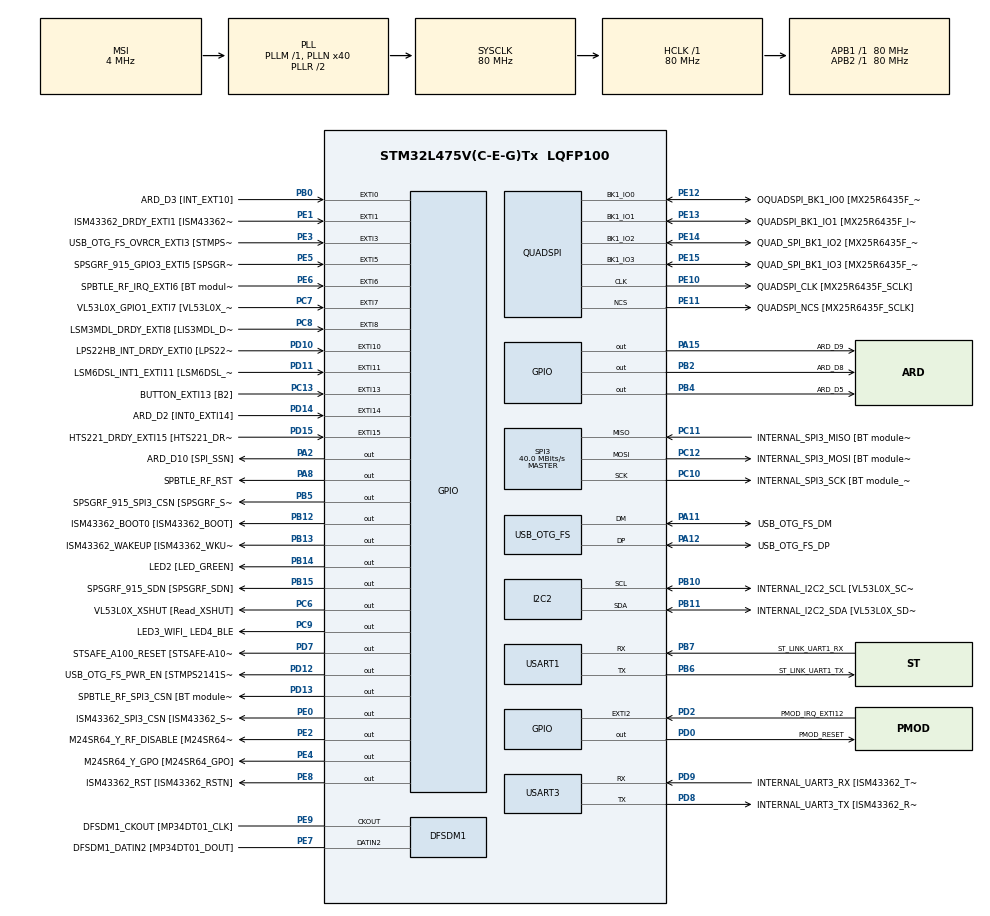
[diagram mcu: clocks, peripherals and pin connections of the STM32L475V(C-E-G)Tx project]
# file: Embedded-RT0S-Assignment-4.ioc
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FREERTOS.Tasks01=defaultTask,0,128,StartDefaultTask,Default,NULL,Dynamic,NULL,NULL;myTask02,-2,128,StartTask02,Default,NULL,Dynamic,NULL,NULL
FREERTOS.Timers01=myTimer01,prvMyTimerOneShot,osTimerOnce,Default,NULL,Dynamic,NULL;myTimer02,prvMyTimerAutoReload,osTimerPeriodic,Default,NULL,Dynamic,NULL
FREERTOS.configUSE_NEWLIB_REENTRANT=1
FREERTOS.configUSE_TIMERS=1
Mcu.Family=STM32L4
Mcu.Name=STM32L475V(C-E-G)Tx
Mcu.Package=LQFP100
NVIC.EXTI15_10_IRQn=true\:5\:0\:false\:false\:true\:true\:true\:true\:true
NVIC.EXTI9_5_IRQn=true\:5\:0\:false\:false\:true\:true\:true\:true\:true
NVIC.PriorityGroup=NVIC_PRIORITYGROUP_4
NVIC.TIM1_UP_TIM16_IRQn=true\:15\:0\:false\:false\:true\:false\:false\:true\:true
NVIC.TimeBase=TIM1_UP_TIM16_IRQn
NVIC.TimeBaseIP=TIM1
PA0.GPIO_Label=ARD_D1 [UART4_TX]
PA0.Signal=UART4_TX
PA1.GPIO_Label=ARD_D0 [UART4_RX]
PA1.Signal=UART4_RX
PA10.GPIO_Label=USB_OTG_FS_ID
PA10.Signal=USB_OTG_FS_ID
PA11.GPIO_Label=USB_OTG_FS_DM
PA11.Mode=Device_Only
PA11.Signal=USB_OTG_FS_DM
PA12.GPIO_Label=USB_OTG_FS_DP
PA12.Mode=Device_Only
PA12.Signal=USB_OTG_FS_DP
PA13\ (JTMS-SWDIO).GPIO_Label=SYS_JTMS_SWDIO
PA13\ (JTMS-SWDIO).Mode=Serial_Wire
PA13\ (JTMS-SWDIO).Signal=SYS_JTMS-SWDIO
PA14\ (JTCK-SWCLK).GPIO_Label=SYS_JTCK_SWCLK
PA14\ (JTCK-SWCLK).Mode=Serial_Wire
PA14\ (JTCK-SWCLK).Signal=SYS_JTCK-SWCLK
PA15\ (JTDI).GPIO_Label=ARD_D9
PA15\ (JTDI).Signal=GPIO_Output
PA2.GPIO_Label=ARD_D10 [SPI_SSN]
PA2.Signal=GPIO_Output
PA3.GPIO_Label=ARD_D4
PA3.Signal=S_TIM2_CH4
PA4.GPIO_Label=ARD_D7
PA4.Signal=ADCx_IN9
PA5.GPIO_Label=ARD_D13 [SPI1_SCK]
PA5.Signal=SPI1_SCK
PA6.GPIO_Label=ARD_D12 [SPI1_MISO]
PA6.Signal=SPI1_MISO
PA7.GPIO_Label=ARD_D11 [SPI1_MOSI]
PA7.Signal=SPI1_MOSI
PA8.GPIO_Label=SPBTLE_RF_RST
PA8.Signal=GPIO_Output
PA9.GPIO_Label=USB_OTG_FS_VBUS [STMPS2141STR_OUT]
PA9.Signal=USB_OTG_FS_VBUS
PB0.GPIO_Label=ARD_D3 [INT_EXT10]
PB0.Signal=GPXTI0
PB1.GPIO_Label=ARD_D6 [ADC1_IN6]
PB1.Signal=ADCx_IN16
PB10.GPIO_Label=INTERNAL_I2C2_SCL [VL53L0X_SCL]
PB10.GPIO_Pu=GPIO_PULLUP
PB10.Mode=I2C
PB10.Signal=I2C2_SCL
PB11.GPIO_Label=INTERNAL_I2C2_SDA [VL53L0X_SDA]
PB11.GPIO_Pu=GPIO_PULLUP
PB11.Mode=I2C
PB11.Signal=I2C2_SDA
PB12.GPIO_Label=ISM43362_BOOT0 [ISM43362_BOOT]
PB12.Signal=GPIO_Output
PB13.GPIO_Label=ISM43362_WAKEUP [ISM43362_WKUP]
PB13.Signal=GPIO_Output
PB14.GPIO_Label=LED2 [LED_GREEN]
PB14.Signal=GPIO_Output
PB15.GPIO_Label=SPSGRF_915_SDN [SPSGRF_SDN]
PB15.Signal=GPIO_Output
PB2.GPIO_Label=ARD_D8
PB2.Signal=GPIO_Output
PB3\ (JTDO-TRACESWO).GPIO_Label=SYS_JTD0_SWO
PB3\ (JTDO-TRACESWO).Signal=SYS_JTDO-SWO
PB4\ (NJTRST).GPIO_Label=ARD_D5
PB4\ (NJTRST).Signal=GPIO_Output
PB5.GPIO_Label=SPSGRF_915_SPI3_CSN [SPSGRF_SPI_CS]
PB5.PinState=GPIO_PIN_SET
PB5.Signal=GPIO_Output
PB6.GPIO_Label=ST_LINK_UART1_TX
PB6.Mode=Asynchronous
PB6.Signal=USART1_TX
PB7.GPIO_Label=ST_LINK_UART1_RX
PB7.Mode=Asynchronous
PB7.Signal=USART1_RX
PB8.GPIO_Label=ARD_D15 [I2C1_SCL]
PB8.Signal=I2C1_SCL
PB9.GPIO_Label=ARD_D14 [I2C1_SDA]
PB9.Signal=I2C1_SDA
PC0.GPIO_Label=ARD_A5 [ADC]
PC0.Signal=ADCx_IN1
PC1.GPIO_Label=ARD_A4 [ADC]
PC1.Signal=ADCx_IN2
PC10.GPIO_Label=INTERNAL_SPI3_SCK [BT module_SPI_SCLK] [ISM43362_SCK]
PC10.Mode=Full_Duplex_Master
PC10.Signal=SPI3_SCK
PC11.GPIO_Label=INTERNAL_SPI3_MISO [BT module_SPI_MISO] [ISM43362_MISO]
PC11.Mode=Full_Duplex_Master
PC11.Signal=SPI3_MISO
PC12.GPIO_Label=INTERNAL_SPI3_MOSI [BT module_SPI_MOSI] [ISM43362_MOSI]
PC12.Mode=Full_Duplex_Master
PC12.Signal=SPI3_MOSI
PC13.GPIO_Label=BUTTON_EXTI13 [B2]
PC13.GPIO_ModeDefaultEXTI=GPIO_MODE_IT_FALLING
PC13.Signal=GPXTI13
PC14-OSC32_IN\ (PC14).Mode=LSE-External-Oscillator
PC14-OSC32_IN\ (PC14).Signal=RCC_OSC32_IN
PC15-OSC32_OUT\ (PC15).Mode=LSE-External-Oscillator
PC15-OSC32_OUT\ (PC15).Signal=RCC_OSC32_OUT
PC2.GPIO_Label=ARD_A3 [ADC]
PC2.Signal=ADCx_IN3
PC3.GPIO_Label=ARD_A2 [ADC]
PC3.Signal=ADCx_IN4
PC4.GPIO_Label=ARD_A1 [ADC]
PC4.Signal=ADCx_IN13
PC5.GPIO_Label=ARD_A0 [ADC]
PC5.Signal=ADCx_IN14
PC6.GPIO_Label=VL53L0X_XSHUT [Read_XSHUT]
PC6.Signal=GPIO_Output
PC7.GPIO_Label=VL53L0X_GPIO1_EXTI7 [VL53L0X_GPIO1]
PC7.Signal=GPXTI7
PC8.GPIO_Label=LSM3MDL_DRDY_EXTI8 [LIS3MDL_DRDY]
PC8.Signal=GPXTI8
PC9.GPIO_Label=LED3_WIFI_ LED4_BLE
PC9.Signal=GPIO_Output
PD0.GPIO_Label=PMOD_RESET
PD0.Signal=GPIO_Output
PD1.GPIO_Label=PMOD_SPI2_SCK
PD1.Signal=SPI2_SCK
PD10.GPIO_Label=LPS22HB_INT_DRDY_EXTI0 [LPS22HB_INT_DRDY] 
PD10.Signal=GPXTI10
PD11.GPIO_Label=LSM6DSL_INT1_EXTI11 [LSM6DSL_INT1]
PD11.Signal=GPXTI11
PD12.GPIO_Label=USB_OTG_FS_PWR_EN [STMPS2141STR_EN]
PD12.Signal=GPIO_Output
PD13.GPIO_Label=SPBTLE_RF_SPI3_CSN [BT module_SPI_CS]
PD13.PinState=GPIO_PIN_SET
PD13.Signal=GPIO_Output
PD14.GPIO_Label=ARD_D2 [INT0_EXTI14]
PD14.Signal=GPXTI14
PD15.GPIO_Label=HTS221_DRDY_EXTI15 [HTS221_DRDY]
PD15.Signal=GPXTI15
PD2.GPIO_Label=PMOD_IRQ_EXTI12
PD2.Signal=GPXTI2
PD3.GPIO_Label=PMOD_UART2_CTS
PD3.Signal=USART2_CTS
PD4.GPIO_Label=PMOD_UART2_RTS
PD4.Signal=USART2_RTS
PD5.GPIO_Label=PMOD_UART2_TX
PD5.Signal=USART2_TX
PD6.GPIO_Label=PMOD_UART2_RX
PD6.Signal=USART2_RX
PD7.GPIO_Label=STSAFE_A100_RESET [STSAFE-A100_RESET]
PD7.Signal=GPIO_Output
PD8.GPIO_Label=INTERNAL_UART3_TX [ISM43362_RX]
PD8.Mode=Asynchronous
PD8.Signal=USART3_TX
PD9.GPIO_Label=INTERNAL_UART3_RX [ISM43362_TX]
PD9.Mode=Asynchronous
PD9.Signal=USART3_RX
PE0.GPIO_Label=ISM43362_SPI3_CSN [ISM43362_SSN]
PE0.PinState=GPIO_PIN_SET
PE0.Signal=GPIO_Output
PE1.GPIO_Label=ISM43362_DRDY_EXTI1 [ISM43362_DATARDY]
PE1.Signal=GPXTI1
PE10.GPIO_Label=QUADSPI_CLK [MX25R6435F_SCLK]
PE10.Mode=Single Bank
PE10.Signal=QUADSPI_CLK
PE11.GPIO_Label=QUADSPI_NCS [MX25R6435F_SCLK]
PE11.Mode=Single Bank
PE11.Signal=QUADSPI_NCS
PE12.GPIO_Label=OQUADSPI_BK1_IO0 [MX25R6435F_IO0]
PE12.Mode=Single Bank
PE12.Signal=QUADSPI_BK1_IO0
PE13.GPIO_Label=QUADSPI_BK1_IO1 [MX25R6435F_IO1]
PE13.Mode=Single Bank
PE13.Signal=QUADSPI_BK1_IO1
PE14.GPIO_Label=QUAD_SPI_BK1_IO2 [MX25R6435F_IO2]
PE14.Mode=Single Bank
PE14.Signal=QUADSPI_BK1_IO2
PE15.GPIO_Label=QUAD_SPI_BK1_IO3 [MX25R6435F_IO3]
PE15.Mode=Single Bank
PE15.Signal=QUADSPI_BK1_IO3
PE2.GPIO_Label=M24SR64_Y_RF_DISABLE [M24SR64_RFDIS]
PE2.Signal=GPIO_Output
PE3.GPIO_Label=USB_OTG_FS_OVRCR_EXTI3 [STMPS2141STR_FAULT]
PE3.Signal=GPXTI3
PE4.GPIO_Label=M24SR64_Y_GPO [M24SR64_GPO]
PE4.Signal=GPIO_Output
PE5.GPIO_Label=SPSGRF_915_GPIO3_EXTI5 [SPSGRF_GPIO_3]
PE5.Signal=GPXTI5
PE6.GPIO_Label=SPBTLE_RF_IRQ_EXTI6 [BT module_SPI_IRQ]
PE6.Signal=GPXTI6
PE7.GPIO_Label=DFSDM1_DATIN2 [MP34DT01_DOUT]
PE7.Signal=S_DATAIN2DFSDM1
PE8.GPIO_Label=ISM43362_RST [ISM43362_RSTN]
PE8.Signal=GPIO_Output
PE9.GPIO_Label=DFSDM1_CKOUT [MP34DT01_CLK]
PE9.Signal=S_CKOUTDFSDM1
ProjectManager.HeapSize=0x200
ProjectManager.StackSize=0x400
ProjectManager.TargetToolchain=STM32CubeIDE
QUADSPI.ClockPrescaler=2
QUADSPI.FifoThreshold=4
QUADSPI.FlashSize=23
QUADSPI.SampleShifting=QSPI_SAMPLE_SHIFTING_HALFCYCLE
RCC.ADCFreq_Value=48000000
RCC.AHBFreq_Value=80000000
RCC.APB1Freq_Value=80000000
RCC.APB1TimFreq_Value=80000000
RCC.APB2Freq_Value=80000000
RCC.APB2TimFreq_Value=80000000
RCC.CortexFreq_Value=80000000
RCC.HCLKFreq_Value=80000000
RCC.HSE_VALUE=8000000
RCC.HSI_VALUE=16000000
RCC.MSI_VALUE=4000000
RCC.PLLN=40
RCC.PLLSAI1N=24
RCC.SYSCLKFreq_VALUE=80000000
RCC.SYSCLKSource=RCC_SYSCLKSOURCE_PLLCLK
RCC.USBFreq_Value=48000000
RCC.VCOOutputFreq_Value=160000000
SH.ADCx_IN1.0=ADC1_IN1
SH.ADCx_IN13.0=ADC1_IN13
SH.ADCx_IN14.0=ADC1_IN14
SH.ADCx_IN16.0=ADC1_IN16
SH.ADCx_IN2.0=ADC1_IN2
SH.ADCx_IN3.0=ADC1_IN3
SH.ADCx_IN4.0=ADC1_IN4
SH.ADCx_IN9.0=ADC1_IN9
SH.S_CKOUTDFSDM1.0=DFSDM1_CKOUT,CKOUT
SH.S_CKOUTDFSDM1.1=DFSDM1_CKOUT,PDM_SPI_Input_from_ch12_and_Internal_Clock
SH.S_DATAIN2DFSDM1.0=DFSDM1_DATIN2,PDM_SPI_Input_from_ch12_and_Internal_Clock
SH.S_TIM2_CH4.0=TIM2_CH4
SPI3.CalculateBaudRate=40.0 MBits/s
SPI3.Direction=SPI_DIRECTION_2LINES
SPI3.Mode=SPI_MODE_MASTER
SPI3.VirtualType=VM_MASTER
USART1.VirtualMode-Asynchronous=VM_ASYNC
USART3.VirtualMode-Asynchronous=VM_ASYNC
USB_OTG_FS.VirtualMode=Device_Only
VP_FREERTOS_VS_CMSIS_V1.Mode=CMSIS_V1
VP_SYS_VS_tim1.Mode=TIM1
board=B-L475E-IOT01A2

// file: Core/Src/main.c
/* USER CODE BEGIN Header */
/**
  ******************************************************************************
  * @file           : main.c
  * @brief          : Main program body
  ******************************************************************************
  * @attention
  *
  * Copyright (c) 2023 STMicroelectronics.
  * All rights reserved.
  *
  * This software is licensed under terms that can be found in the LICENSE file
  * in the root directory of this software component.
  * If no LICENSE file comes with this software, it is provided AS-IS.
  *
  ******************************************************************************
  */
/* USER CODE END Header */
#include "main.h"
#include "cmsis_os.h"

/* USER CODE BEGIN Includes */
#include <stdio.h>
#include <string.h>
/* USER CODE END Includes */

DFSDM_Channel_HandleTypeDef hdfsdm1_channel1;

I2C_HandleTypeDef hi2c2;

QSPI_HandleTypeDef hqspi;

SPI_HandleTypeDef hspi3;

UART_HandleTypeDef huart1;
UART_HandleTypeDef huart3;

PCD_HandleTypeDef hpcd_USB_OTG_FS;

osThreadId defaultTaskHandle;
osThreadId myTask02Handle;
osTimerId myTimer01Handle;
osTimerId myTimer02Handle;

void SystemClock_Config(void);
static void MX_GPIO_Init(void);
static void MX_DFSDM1_Init(void);
static void MX_I2C2_Init(void);
static void MX_QUADSPI_Init(void);
static void MX_SPI3_Init(void);
static void MX_USART1_UART_Init(void);
static void MX_USART3_UART_Init(void);
static void MX_USB_OTG_FS_PCD_Init(void);
void StartDefaultTask(void const * argument);
void StartTask02(void const * argument);
void prvMyTimerOneShot(void const * argument);
void prvMyTimerAutoReload(void const * argument);

int main(void)
{

  /* MCU Configuration--------------------------------------------------------*/

  /* Reset of all peripherals, Initializes the Flash interface and the Systick. */
  HAL_Init();

  /* Configure the system clock */
  SystemClock_Config();

  /* Initialize all configured peripherals */
  MX_GPIO_Init();
  MX_DFSDM1_Init();
  MX_I2C2_Init();
  MX_QUADSPI_Init();
  MX_SPI3_Init();
  MX_USART1_UART_Init();
  MX_USART3_UART_Init();
  MX_USB_OTG_FS_PCD_Init();

  /* Create the timer(s) */
  /* definition and creation of myTimer01 */
  osTimerDef(myTimer01, prvMyTimerOneShot);
  myTimer01Handle = osTimerCreate(osTimer(myTimer01), osTimerOnce, NULL);

  /* definition and creation of myTimer02 */
  osTimerDef(myTimer02, prvMyTimerAutoReload);
  myTimer02Handle = osTimerCreate(osTimer(myTimer02), osTimerPeriodic, NULL);

  /* USER CODE BEGIN RTOS_TIMERS */
  /* start timers, add new ones, ... */
  osTimerStart(myTimer01Handle, 15000);
  osTimerStart(myTimer02Handle, 5000);
  /* USER CODE END RTOS_TIMERS */

  /* Create the thread(s) */
  /* definition and creation of defaultTask */
  osThreadDef(defaultTask, StartDefaultTask, osPriorityNormal, 0, 128);
  defaultTaskHandle = osThreadCreate(osThread(defaultTask), NULL);

  /* definition and creation of myTask02 */
  osThreadDef(myTask02, StartTask02, osPriorityLow, 0, 128);
  myTask02Handle = osThreadCreate(osThread(myTask02), NULL);

  /* Start scheduler */
  osKernelStart();
  /* We should never get here as control is now taken by the scheduler */
  /* Infinite loop */
  while (1)
  {

  }
}

void SystemClock_Config(void)
{
  RCC_OscInitTypeDef RCC_OscInitStruct = {0};
  RCC_ClkInitTypeDef RCC_ClkInitStruct = {0};

  /** Configure the main internal regulator output voltage
  */
  if (HAL_PWREx_ControlVoltageScaling(PWR_REGULATOR_VOLTAGE_SCALE1) != HAL_OK)
  {
    Error_Handler();
  }

  /** Configure LSE Drive Capability
  */
  HAL_PWR_EnableBkUpAccess();
  __HAL_RCC_LSEDRIVE_CONFIG(RCC_LSEDRIVE_LOW);

  /** Initializes the RCC Oscillators according to the specified parameters
  * in the RCC_OscInitTypeDef structure.
  */
  RCC_OscInitStruct.OscillatorType = RCC_OSCILLATORTYPE_LSE|RCC_OSCILLATORTYPE_MSI;
  RCC_OscInitStruct.LSEState = RCC_LSE_ON;
  RCC_OscInitStruct.MSIState = RCC_MSI_ON;
  RCC_OscInitStruct.MSICalibrationValue = 0;
  RCC_OscInitStruct.MSIClockRange = RCC_MSIRANGE_6;
  RCC_OscInitStruct.PLL.PLLState = RCC_PLL_ON;
  RCC_OscInitStruct.PLL.PLLSource = RCC_PLLSOURCE_MSI;
  RCC_OscInitStruct.PLL.PLLM = 1;
  RCC_OscInitStruct.PLL.PLLN = 40;
  RCC_OscInitStruct.PLL.PLLP = RCC_PLLP_DIV7;
  RCC_OscInitStruct.PLL.PLLQ = RCC_PLLQ_DIV2;
  RCC_OscInitStruct.PLL.PLLR = RCC_PLLR_DIV2;
  if (HAL_RCC_OscConfig(&RCC_OscInitStruct) != HAL_OK)
  {
    Error_Handler();
  }

  /** Initializes the CPU, AHB and APB buses clocks
  */
  RCC_ClkInitStruct.ClockType = RCC_CLOCKTYPE_HCLK|RCC_CLOCKTYPE_SYSCLK
                              |RCC_CLOCKTYPE_PCLK1|RCC_CLOCKTYPE_PCLK2;
  RCC_ClkInitStruct.SYSCLKSource = RCC_SYSCLKSOURCE_PLLCLK;
  RCC_ClkInitStruct.AHBCLKDivider = RCC_SYSCLK_DIV1;
  RCC_ClkInitStruct.APB1CLKDivider = RCC_HCLK_DIV1;
  RCC_ClkInitStruct.APB2CLKDivider = RCC_HCLK_DIV1;

  if (HAL_RCC_ClockConfig(&RCC_ClkInitStruct, FLASH_LATENCY_4) != HAL_OK)
  {
    Error_Handler();
  }

  /** Enable MSI Auto calibration
  */
  HAL_RCCEx_EnableMSIPLLMode();
}

static void MX_DFSDM1_Init(void)
{

  hdfsdm1_channel1.Instance = DFSDM1_Channel1;
  hdfsdm1_channel1.Init.OutputClock.Activation = ENABLE;
  hdfsdm1_channel1.Init.OutputClock.Selection = DFSDM_CHANNEL_OUTPUT_CLOCK_SYSTEM;
  hdfsdm1_channel1.Init.OutputClock.Divider = 2;
  hdfsdm1_channel1.Init.Input.Multiplexer = DFSDM_CHANNEL_EXTERNAL_INPUTS;
  hdfsdm1_channel1.Init.Input.DataPacking = DFSDM_CHANNEL_STANDARD_MODE;
  hdfsdm1_channel1.Init.Input.Pins = DFSDM_CHANNEL_FOLLOWING_CHANNEL_PINS;
  hdfsdm1_channel1.Init.SerialInterface.Type = DFSDM_CHANNEL_SPI_RISING;
  hdfsdm1_channel1.Init.SerialInterface.SpiClock = DFSDM_CHANNEL_SPI_CLOCK_INTERNAL;
  hdfsdm1_channel1.Init.Awd.FilterOrder = DFSDM_CHANNEL_FASTSINC_ORDER;
  hdfsdm1_channel1.Init.Awd.Oversampling = 1;
  hdfsdm1_channel1.Init.Offset = 0;
  hdfsdm1_channel1.Init.RightBitShift = 0x00;
  if (HAL_DFSDM_ChannelInit(&hdfsdm1_channel1) != HAL_OK)
  {
    Error_Handler();
  }

}

static void MX_I2C2_Init(void)
{

  hi2c2.Instance = I2C2;
  hi2c2.Init.Timing = 0x00000E14;
  hi2c2.Init.OwnAddress1 = 0;
  hi2c2.Init.AddressingMode = I2C_ADDRESSINGMODE_7BIT;
  hi2c2.Init.DualAddressMode = I2C_DUALADDRESS_DISABLE;
  hi2c2.Init.OwnAddress2 = 0;
  hi2c2.Init.OwnAddress2Masks = I2C_OA2_NOMASK;
  hi2c2.Init.GeneralCallMode = I2C_GENERALCALL_DISABLE;
  hi2c2.Init.NoStretchMode = I2C_NOSTRETCH_DISABLE;
  if (HAL_I2C_Init(&hi2c2) != HAL_OK)
  {
    Error_Handler();
  }

  /** Configure Analogue filter
  */
  if (HAL_I2CEx_ConfigAnalogFilter(&hi2c2, I2C_ANALOGFILTER_ENABLE) != HAL_OK)
  {
    Error_Handler();
  }

  /** Configure Digital filter
  */
  if (HAL_I2CEx_ConfigDigitalFilter(&hi2c2, 0) != HAL_OK)
  {
    Error_Handler();
  }

}

static void MX_QUADSPI_Init(void)
{

  /* QUADSPI parameter configuration*/
  hqspi.Instance = QUADSPI;
  hqspi.Init.ClockPrescaler = 2;
  hqspi.Init.FifoThreshold = 4;
  hqspi.Init.SampleShifting = QSPI_SAMPLE_SHIFTING_HALFCYCLE;
  hqspi.Init.FlashSize = 23;
  hqspi.Init.ChipSelectHighTime = QSPI_CS_HIGH_TIME_1_CYCLE;
  hqspi.Init.ClockMode = QSPI_CLOCK_MODE_0;
  if (HAL_QSPI_Init(&hqspi) != HAL_OK)
  {
    Error_Handler();
  }

}

static void MX_SPI3_Init(void)
{

  /* SPI3 parameter configuration*/
  hspi3.Instance = SPI3;
  hspi3.Init.Mode = SPI_MODE_MASTER;
  hspi3.Init.Direction = SPI_DIRECTION_2LINES;
  hspi3.Init.DataSize = SPI_DATASIZE_4BIT;
  hspi3.Init.CLKPolarity = SPI_POLARITY_LOW;
  hspi3.Init.CLKPhase = SPI_PHASE_1EDGE;
  hspi3.Init.NSS = SPI_NSS_SOFT;
  hspi3.Init.BaudRatePrescaler = SPI_BAUDRATEPRESCALER_2;
  hspi3.Init.FirstBit = SPI_FIRSTBIT_MSB;
  hspi3.Init.TIMode = SPI_TIMODE_DISABLE;
  hspi3.Init.CRCCalculation = SPI_CRCCALCULATION_DISABLE;
  hspi3.Init.CRCPolynomial = 7;
  hspi3.Init.CRCLength = SPI_CRC_LENGTH_DATASIZE;
  hspi3.Init.NSSPMode = SPI_NSS_PULSE_ENABLE;
  if (HAL_SPI_Init(&hspi3) != HAL_OK)
  {
    Error_Handler();
  }

}

static void MX_USART1_UART_Init(void)
{

  huart1.Instance = USART1;
  huart1.Init.BaudRate = 115200;
  huart1.Init.WordLength = UART_WORDLENGTH_8B;
  huart1.Init.StopBits = UART_STOPBITS_1;
  huart1.Init.Parity = UART_PARITY_NONE;
  huart1.Init.Mode = UART_MODE_TX_RX;
  huart1.Init.HwFlowCtl = UART_HWCONTROL_NONE;
  huart1.Init.OverSampling = UART_OVERSAMPLING_16;
  huart1.Init.OneBitSampling = UART_ONE_BIT_SAMPLE_DISABLE;
  huart1.AdvancedInit.AdvFeatureInit = UART_ADVFEATURE_NO_INIT;
  if (HAL_UART_Init(&huart1) != HAL_OK)
  {
    Error_Handler();
  }

}

static void MX_USART3_UART_Init(void)
{

  huart3.Instance = USART3;
  huart3.Init.BaudRate = 115200;
  huart3.Init.WordLength = UART_WORDLENGTH_8B;
  huart3.Init.StopBits = UART_STOPBITS_1;
  huart3.Init.Parity = UART_PARITY_NONE;
  huart3.Init.Mode = UART_MODE_TX_RX;
  huart3.Init.HwFlowCtl = UART_HWCONTROL_NONE;
  huart3.Init.OverSampling = UART_OVERSAMPLING_16;
  huart3.Init.OneBitSampling = UART_ONE_BIT_SAMPLE_DISABLE;
  huart3.AdvancedInit.AdvFeatureInit = UART_ADVFEATURE_NO_INIT;
  if (HAL_UART_Init(&huart3) != HAL_OK)
  {
    Error_Handler();
  }

}

static void MX_USB_OTG_FS_PCD_Init(void)
{

  hpcd_USB_OTG_FS.Instance = USB_OTG_FS;
  hpcd_USB_OTG_FS.Init.dev_endpoints = 6;
  hpcd_USB_OTG_FS.Init.speed = PCD_SPEED_FULL;
  hpcd_USB_OTG_FS.Init.phy_itface = PCD_PHY_EMBEDDED;
  hpcd_USB_OTG_FS.Init.Sof_enable = DISABLE;
  hpcd_USB_OTG_FS.Init.low_power_enable = DISABLE;
  hpcd_USB_OTG_FS.Init.lpm_enable = DISABLE;
  hpcd_USB_OTG_FS.Init.battery_charging_enable = DISABLE;
  hpcd_USB_OTG_FS.Init.use_dedicated_ep1 = DISABLE;
  hpcd_USB_OTG_FS.Init.vbus_sensing_enable = DISABLE;
  if (HAL_PCD_Init(&hpcd_USB_OTG_FS) != HAL_OK)
  {
    Error_Handler();
  }

}

static void MX_GPIO_Init(void)
{
  GPIO_InitTypeDef GPIO_InitStruct = {0};

  /* GPIO Ports Clock Enable */
  __HAL_RCC_GPIOE_CLK_ENABLE();
  __HAL_RCC_GPIOC_CLK_ENABLE();
  __HAL_RCC_GPIOA_CLK_ENABLE();
  __HAL_RCC_GPIOB_CLK_ENABLE();
  __HAL_RCC_GPIOD_CLK_ENABLE();

  /*Configure GPIO pin Output Level */
  HAL_GPIO_WritePin(GPIOE, M24SR64_Y_RF_DISABLE_Pin|M24SR64_Y_GPO_Pin|ISM43362_RST_Pin, GPIO_PIN_RESET);

  /*Configure GPIO pin Output Level */
  HAL_GPIO_WritePin(GPIOA, ARD_D10_Pin|SPBTLE_RF_RST_Pin|ARD_D9_Pin, GPIO_PIN_RESET);

  /*Configure GPIO pin Output Level */
  HAL_GPIO_WritePin(GPIOB, ARD_D8_Pin|ISM43362_BOOT0_Pin|ISM43362_WAKEUP_Pin|LED2_Pin
                          |SPSGRF_915_SDN_Pin|ARD_D5_Pin, GPIO_PIN_RESET);

  /*Configure GPIO pin Output Level */
  HAL_GPIO_WritePin(GPIOD, USB_OTG_FS_PWR_EN_Pin|PMOD_RESET_Pin|STSAFE_A100_RESET_Pin, GPIO_PIN_RESET);

  /*Configure GPIO pin Output Level */
  HAL_GPIO_WritePin(SPBTLE_RF_SPI3_CSN_GPIO_Port, SPBTLE_RF_SPI3_CSN_Pin, GPIO_PIN_SET);

  /*Configure GPIO pin Output Level */
  HAL_GPIO_WritePin(GPIOC, VL53L0X_XSHUT_Pin|LED3_WIFI__LED4_BLE_Pin, GPIO_PIN_RESET);

  /*Configure GPIO pin Output Level */
  HAL_GPIO_WritePin(SPSGRF_915_SPI3_CSN_GPIO_Port, SPSGRF_915_SPI3_CSN_Pin, GPIO_PIN_SET);

  /*Configure GPIO pin Output Level */
  HAL_GPIO_WritePin(ISM43362_SPI3_CSN_GPIO_Port, ISM43362_SPI3_CSN_Pin, GPIO_PIN_SET);

  /*Configure GPIO pins : M24SR64_Y_RF_DISABLE_Pin M24SR64_Y_GPO_Pin ISM43362_RST_Pin ISM43362_SPI3_CSN_Pin */
  GPIO_InitStruct.Pin = M24SR64_Y_RF_DISABLE_Pin|M24SR64_Y_GPO_Pin|ISM43362_RST_Pin|ISM43362_SPI3_CSN_Pin;
  GPIO_InitStruct.Mode = GPIO_MODE_OUTPUT_PP;
  GPIO_InitStruct.Pull = GPIO_NOPULL;
  GPIO_InitStruct.Speed = GPIO_SPEED_FREQ_LOW;
  HAL_GPIO_Init(GPIOE, &GPIO_InitStruct);

  /*Configure GPIO pins : USB_OTG_FS_OVRCR_EXTI3_Pin SPSGRF_915_GPIO3_EXTI5_Pin SPBTLE_RF_IRQ_EXTI6_Pin ISM43362_DRDY_EXTI1_Pin */
  GPIO_InitStruct.Pin = USB_OTG_FS_OVRCR_EXTI3_Pin|SPSGRF_915_GPIO3_EXTI5_Pin|SPBTLE_RF_IRQ_EXTI6_Pin|ISM43362_DRDY_EXTI1_Pin;
  GPIO_InitStruct.Mode = GPIO_MODE_IT_RISING;
  GPIO_InitStruct.Pull = GPIO_NOPULL;
  HAL_GPIO_Init(GPIOE, &GPIO_InitStruct);

  /*Configure GPIO pin : BUTTON_EXTI13_Pin */
  GPIO_InitStruct.Pin = BUTTON_EXTI13_Pin;
  GPIO_InitStruct.Mode = GPIO_MODE_IT_FALLING;
  GPIO_InitStruct.Pull = GPIO_NOPULL;
  HAL_GPIO_Init(BUTTON_EXTI13_GPIO_Port, &GPIO_InitStruct);

  /*Configure GPIO pins : ARD_A5_Pin ARD_A4_Pin ARD_A3_Pin ARD_A2_Pin
                           ARD_A1_Pin ARD_A0_Pin */
  GPIO_InitStruct.Pin = ARD_A5_Pin|ARD_A4_Pin|ARD_A3_Pin|ARD_A2_Pin
                          |ARD_A1_Pin|ARD_A0_Pin;
  GPIO_InitStruct.Mode = GPIO_MODE_ANALOG_ADC_CONTROL;
  GPIO_InitStruct.Pull = GPIO_NOPULL;
  HAL_GPIO_Init(GPIOC, &GPIO_InitStruct);

  /*Configure GPIO pins : ARD_D1_Pin ARD_D0_Pin */
  GPIO_InitStruct.Pin = ARD_D1_Pin|ARD_D0_Pin;
  GPIO_InitStruct.Mode = GPIO_MODE_AF_PP;
  GPIO_InitStruct.Pull = GPIO_NOPULL;
  GPIO_InitStruct.Speed = GPIO_SPEED_FREQ_VERY_HIGH;
  GPIO_InitStruct.Alternate = GPIO_AF8_UART4;
  HAL_GPIO_Init(GPIOA, &GPIO_InitStruct);

  /*Configure GPIO pins : ARD_D10_Pin SPBTLE_RF_RST_Pin ARD_D9_Pin */
  GPIO_InitStruct.Pin = ARD_D10_Pin|SPBTLE_RF_RST_Pin|ARD_D9_Pin;
  GPIO_InitStruct.Mode = GPIO_MODE_OUTPUT_PP;
  GPIO_InitStruct.Pull = GPIO_NOPULL;
  GPIO_InitStruct.Speed = GPIO_SPEED_FREQ_LOW;
  HAL_GPIO_Init(GPIOA, &GPIO_InitStruct);

  /*Configure GPIO pin : ARD_D4_Pin */
  GPIO_InitStruct.Pin = ARD_D4_Pin;
  GPIO_InitStruct.Mode = GPIO_MODE_AF_PP;
  GPIO_InitStruct.Pull = GPIO_NOPULL;
  GPIO_InitStruct.Speed = GPIO_SPEED_FREQ_LOW;
  GPIO_InitStruct.Alternate = GPIO_AF1_TIM2;
  HAL_GPIO_Init(ARD_D4_GPIO_Port, &GPIO_InitStruct);

  /*Configure GPIO pin : ARD_D7_Pin */
  GPIO_InitStruct.Pin = ARD_D7_Pin;
  GPIO_InitStruct.Mode = GPIO_MODE_ANALOG_ADC_CONTROL;
  GPIO_InitStruct.Pull = GPIO_NOPULL;
  HAL_GPIO_Init(ARD_D7_GPIO_Port, &GPIO_InitStruct);

  /*Configure GPIO pins : ARD_D13_Pin ARD_D12_Pin ARD_D11_Pin */
  GPIO_InitStruct.Pin = ARD_D13_Pin|ARD_D12_Pin|ARD_D11_Pin;
  GPIO_InitStruct.Mode = GPIO_MODE_AF_PP;
  GPIO_InitStruct.Pull = GPIO_NOPULL;
  GPIO_InitStruct.Speed = GPIO_SPEED_FREQ_VERY_HIGH;
  GPIO_InitStruct.Alternate = GPIO_AF5_SPI1;
  HAL_GPIO_Init(GPIOA, &GPIO_InitStruct);

  /*Configure GPIO pin : ARD_D3_Pin */
  GPIO_InitStruct.Pin = ARD_D3_Pin;
  GPIO_InitStruct.Mode = GPIO_MODE_IT_RISING;
  GPIO_InitStruct.Pull = GPIO_NOPULL;
  HAL_GPIO_Init(ARD_D3_GPIO_Port, &GPIO_InitStruct);

  /*Configure GPIO pin : ARD_D6_Pin */
  GPIO_InitStruct.Pin = ARD_D6_Pin;
  GPIO_InitStruct.Mode = GPIO_MODE_ANALOG_ADC_CONTROL;
  GPIO_InitStruct.Pull = GPIO_NOPULL;
  HAL_GPIO_Init(ARD_D6_GPIO_Port, &GPIO_InitStruct);

  /*Configure GPIO pins : ARD_D8_Pin ISM43362_BOOT0_Pin ISM43362_WAKEUP_Pin LED2_Pin
                           SPSGRF_915_SDN_Pin ARD_D5_Pin SPSGRF_915_SPI3_CSN_Pin */
  GPIO_InitStruct.Pin = ARD_D8_Pin|ISM43362_BOOT0_Pin|ISM43362_WAKEUP_Pin|LED2_Pin
                          |SPSGRF_915_SDN_Pin|ARD_D5_Pin|SPSGRF_915_SPI3_CSN_Pin;
  GPIO_InitStruct.Mode = GPIO_MODE_OUTPUT_PP;
  GPIO_InitStruct.Pull = GPIO_NOPULL;
  GPIO_InitStruct.Speed = GPIO_SPEED_FREQ_LOW;
  HAL_GPIO_Init(GPIOB, &GPIO_InitStruct);

  /*Configure GPIO pins : LPS22HB_INT_DRDY_EXTI0_Pin LSM6DSL_INT1_EXTI11_Pin ARD_D2_Pin HTS221_DRDY_EXTI15_Pin
                           PMOD_IRQ_EXTI12_Pin */
  GPIO_InitStruct.Pin = LPS22HB_INT_DRDY_EXTI0_Pin|LSM6DSL_INT1_EXTI11_Pin|ARD_D2_Pin|HTS221_DRDY_EXTI15_Pin
                          |PMOD_IRQ_EXTI12_Pin;
  GPIO_InitStruct.Mode = GPIO_MODE_IT_RISING;
  GPIO_InitStruct.Pull = GPIO_NOPULL;
  HAL_GPIO_Init(GPIOD, &GPIO_InitStruct);

  /*Configure GPIO pins : USB_OTG_FS_PWR_EN_Pin SPBTLE_RF_SPI3_CSN_Pin PMOD_RESET_Pin STSAFE_A100_RESET_Pin */
  GPIO_InitStruct.Pin = USB_OTG_FS_PWR_EN_Pin|SPBTLE_RF_SPI3_CSN_Pin|PMOD_RESET_Pin|STSAFE_A100_RESET_Pin;
  GPIO_InitStruct.Mode = GPIO_MODE_OUTPUT_PP;
  GPIO_InitStruct.Pull = GPIO_NOPULL;
  GPIO_InitStruct.Speed = GPIO_SPEED_FREQ_LOW;
  HAL_GPIO_Init(GPIOD, &GPIO_InitStruct);

  /*Configure GPIO pins : VL53L0X_XSHUT_Pin LED3_WIFI__LED4_BLE_Pin */
  GPIO_InitStruct.Pin = VL53L0X_XSHUT_Pin|LED3_WIFI__LED4_BLE_Pin;
  GPIO_InitStruct.Mode = GPIO_MODE_OUTPUT_PP;
  GPIO_InitStruct.Pull = GPIO_NOPULL;
  GPIO_InitStruct.Speed = GPIO_SPEED_FREQ_LOW;
  HAL_GPIO_Init(GPIOC, &GPIO_InitStruct);

  /*Configure GPIO pins : VL53L0X_GPIO1_EXTI7_Pin LSM3MDL_DRDY_EXTI8_Pin */
  GPIO_InitStruct.Pin = VL53L0X_GPIO1_EXTI7_Pin|LSM3MDL_DRDY_EXTI8_Pin;
  GPIO_InitStruct.Mode = GPIO_MODE_IT_RISING;
  GPIO_InitStruct.Pull = GPIO_NOPULL;
  HAL_GPIO_Init(GPIOC, &GPIO_InitStruct);

  /*Configure GPIO pin : PMOD_SPI2_SCK_Pin */
  GPIO_InitStruct.Pin = PMOD_SPI2_SCK_Pin;
  GPIO_InitStruct.Mode = GPIO_MODE_AF_PP;
  GPIO_InitStruct.Pull = GPIO_NOPULL;
  GPIO_InitStruct.Speed = GPIO_SPEED_FREQ_VERY_HIGH;
  GPIO_InitStruct.Alternate = GPIO_AF5_SPI2;
  HAL_GPIO_Init(PMOD_SPI2_SCK_GPIO_Port, &GPIO_InitStruct);

  /*Configure GPIO pins : PMOD_UART2_CTS_Pin PMOD_UART2_RTS_Pin PMOD_UART2_TX_Pin PMOD_UART2_RX_Pin */
  GPIO_InitStruct.Pin = PMOD_UART2_CTS_Pin|PMOD_UART2_RTS_Pin|PMOD_UART2_TX_Pin|PMOD_UART2_RX_Pin;
  GPIO_InitStruct.Mode = GPIO_MODE_AF_PP;
  GPIO_InitStruct.Pull = GPIO_NOPULL;
  GPIO_InitStruct.Speed = GPIO_SPEED_FREQ_VERY_HIGH;
  GPIO_InitStruct.Alternate = GPIO_AF7_USART2;
  HAL_GPIO_Init(GPIOD, &GPIO_InitStruct);

  /*Configure GPIO pins : ARD_D15_Pin ARD_D14_Pin */
  GPIO_InitStruct.Pin = ARD_D15_Pin|ARD_D14_Pin;
  GPIO_InitStruct.Mode = GPIO_MODE_AF_OD;
  GPIO_InitStruct.Pull = GPIO_NOPULL;
  GPIO_InitStruct.Speed = GPIO_SPEED_FREQ_VERY_HIGH;
  GPIO_InitStruct.Alternate = GPIO_AF4_I2C1;
  HAL_GPIO_Init(GPIOB, &GPIO_InitStruct);

  /* EXTI interrupt init*/
  HAL_NVIC_SetPriority(EXTI9_5_IRQn, 5, 0);
  HAL_NVIC_EnableIRQ(EXTI9_5_IRQn);

  HAL_NVIC_SetPriority(EXTI15_10_IRQn, 5, 0);
  HAL_NVIC_EnableIRQ(EXTI15_10_IRQn);

}

void StartDefaultTask(void const * argument)
{
  /* USER CODE BEGIN 5 */
  /* Infinite loop */
  for(;;)
  {
	HAL_GPIO_TogglePin(LED2_GPIO_Port, LED2_Pin);
    osDelay(1000);
  }
  /* USER CODE END 5 */
}

void StartTask02(void const * argument)
{
  /* USER CODE BEGIN StartTask02 */
  /* Infinite loop */
  for(;;)
  {
	HAL_GPIO_TogglePin(LED3_WIFI__LED4_BLE_GPIO_Port, LED3_WIFI__LED4_BLE_Pin);
	osDelay(2000);
  }
  /* USER CODE END StartTask02 */
}

/* prvMyTimerOneShot function */
void prvMyTimerOneShot(void const * argument)
{
  /* USER CODE BEGIN prvMyTimerOneShot */
	char buf[100];
	snprintf(buf, sizeof(buf), "prvMyTimerOneShot\r\n");
	HAL_UART_Transmit(&huart1, (uint8_t*)buf, strlen(buf), 1000);
  /* USER CODE END prvMyTimerOneShot */
}

/* prvMyTimerAutoReload function */
void prvMyTimerAutoReload(void const * argument)
{
  /* USER CODE BEGIN prvMyTimerAutoReload */
	static int count = 1;
	char buf[100];
	snprintf(buf, sizeof(buf), "prvMyTimerAutoReload: %d\r\n", count);
	HAL_UART_Transmit(&huart1, (uint8_t*)buf, strlen(buf), 1000);
	count ++;
  /* USER CODE END prvMyTimerAutoReload */
}

void HAL_TIM_PeriodElapsedCallback(TIM_HandleTypeDef *htim)
{
  if (htim->Instance == TIM1) {
    HAL_IncTick();
  }
}

void Error_Handler(void)
{
  __disable_irq();
  while (1)
  {
  }
}
